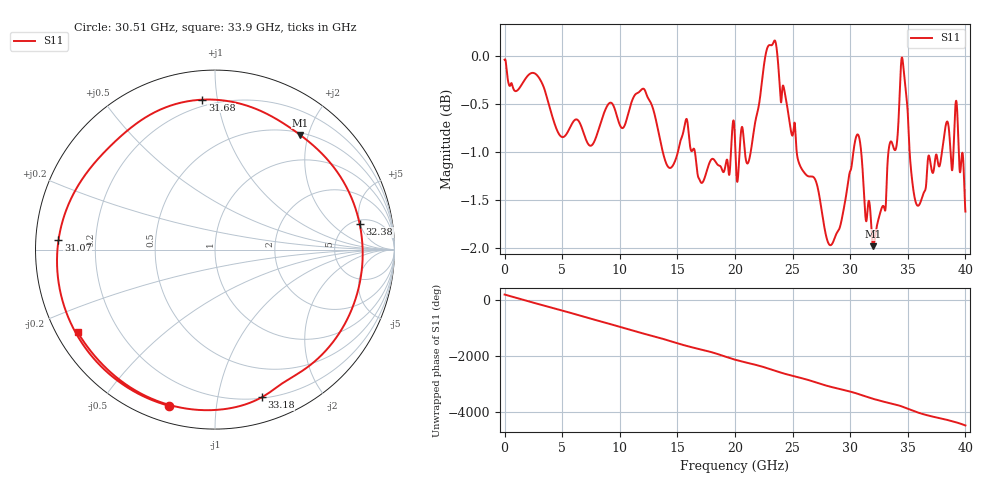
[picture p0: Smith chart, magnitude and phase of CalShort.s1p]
! File created by SignalIntegrity v1.1.1: Signal and Power Integrity Tools
! https://github.com/TeledyneLeCroy/SignalIntegrity
# MHz MA S R 50.0
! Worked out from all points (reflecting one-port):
!   8000 points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, 5 MHz to 40 GHz, reference 50 ohm
!   lowest |S11| = -2.0 dB at 32 GHz (marker M1), VSWR 8.80, Z = 26.8 + j93.5 ohm
!   phase of S11 starts at 179 deg and turns -4676 deg over the sweep
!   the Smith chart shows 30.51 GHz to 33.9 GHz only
!   S11 on the Smith chart (normalised r, x): 30.51 GHz: 0.08, -0.74; 31.07 GHz: 0.07, +0.03; 31.68 GHz: 0.16, +0.91; 32.38 GHz: 5.70, +4.92; 33.18 GHz: 0.21, -1.34; 33.9 GHz: 0.06, -0.28
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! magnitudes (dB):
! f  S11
! 5 MHz  0.0
! 5.005 GHz  -0.8
! 10.01 GHz  -0.7
! 12.05 GHz  -0.3
! 14.11 GHz  -1.1
! 15.01 GHz  -1.0
! 15.79 GHz  -0.7
! 17.13 GHz  -1.3
! 20 GHz  -0.9
! 21.2 GHz  -1.1
! 23.36 GHz  0.1
! 25 GHz  -0.8
! 28.23 GHz  -2.0
! 30 GHz  -1.2
! 30.51 GHz  -0.8
! 31.07 GHz  -1.2
! 31.68 GHz  -1.5
! 32 GHz  -2.0
! 32.38 GHz  -1.7
! 33.18 GHz  -1.3
! 33.9 GHz  -1.0
! 34.52 GHz  0.0
! 35.01 GHz  -0.6
! 35.8 GHz  -1.6
! 38.36 GHz  -0.7
! 38.84 GHz  -1.2
! 39.19 GHz  -0.5
! 40 GHz  -1.6
